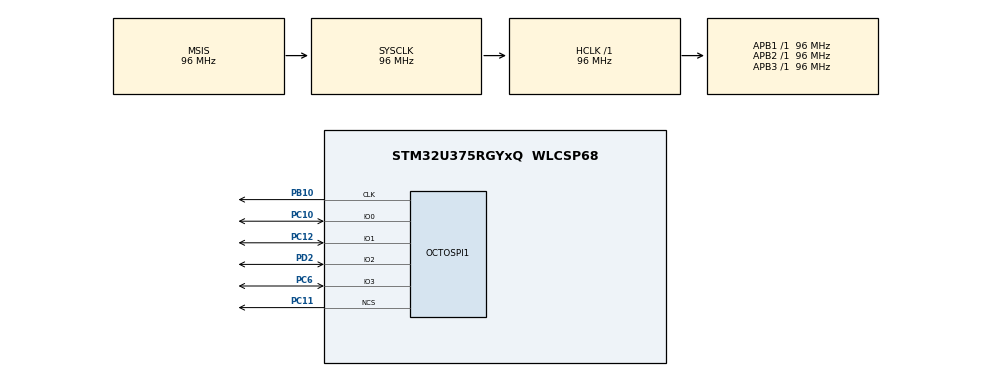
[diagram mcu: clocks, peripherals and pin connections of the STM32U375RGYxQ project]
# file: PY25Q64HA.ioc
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CORTEX_M33_NS.userName=CORTEX_M33
Mcu.Family=STM32U3
Mcu.Name=STM32U375RGYxQ
Mcu.Package=WLCSP68
NVIC.PriorityGroup=NVIC_PRIORITYGROUP_4
OCTOSPI1.ClockPrescaler=1
OCTOSPI1.MemorySize=HAL_XSPI_SIZE_64MB
PB10.Mode=quad_mode
PB10.Signal=OCTOSPI1_CLK
PC10.Mode=OCTOSPI1_IO[3\:0]
PC10.Signal=OCTOSPI1_IO0
PC11.Mode=quad_mode
PC11.Signal=OCTOSPI1_NCS
PC12.Mode=OCTOSPI1_IO[3\:0]
PC12.Signal=OCTOSPI1_IO1
PC6.Mode=OCTOSPI1_IO[3\:0]
PC6.Signal=OCTOSPI1_IO3
PD2.Mode=OCTOSPI1_IO[3\:0]
PD2.Signal=OCTOSPI1_IO2
ProjectManager.HeapSize=0x200
ProjectManager.StackSize=0x400
ProjectManager.TargetToolchain=EWARM V9.40
RCC.ADCFreq_Value=96000000
RCC.AHBFreq_Value=96000000
RCC.APB1Freq_Value=96000000
RCC.APB1TimFreq_Value=96000000
RCC.APB2Freq_Value=96000000
RCC.APB2TimFreq_Value=96000000
RCC.APB3Freq_Value=96000000
RCC.CortexFreq_Value=12000000
RCC.HCLKFreq_Value=96000000
RCC.HSE_VALUE=16000000
RCC.HSI48_VALUE=48000000
RCC.HSI_VALUE=16000000
RCC.LSE_VALUE=32768
RCC.LSIDIV_VALUE=32000
RCC.MSISDIV=RCC_MSI_DIV1
RCC.SYSCLKFreq_VALUE=96000000
RCC.USBFreq_Value=96000000
VP_ICACHE_VS_ICACHE.Mode=DefaultMode
VP_PWR_VS_DBSignals.Mode=DisableDeadBatterySignals
VP_PWR_VS_LPOM.Mode=PowerOptimisation
VP_PWR_VS_SECSignals.Mode=Security/Privilege
board=custom

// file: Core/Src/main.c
/* USER CODE BEGIN Header */
/**
  ******************************************************************************
  * @file           : main.c
  * @brief          : Main program body
  ******************************************************************************
  * @attention
  *
  * Copyright (c) 2025 STMicroelectronics.
  * All rights reserved.
  *
  * This software is licensed under terms that can be found in the LICENSE file
  * in the root directory of this software component.
  * If no LICENSE file comes with this software, it is provided AS-IS.
  *
  ******************************************************************************
  */
/* USER CODE END Header */
#include "main.h"

/* USER CODE BEGIN Includes */
#include "py25q64ha.h"
#include "generated_data_50KB.h"
#include <string.h>
/* USER CODE END Includes */

/* USER CODE BEGIN PTD */
#define QSPI_MEMEMORY_DEVICE_ID   0x16U
/* USER CODE END PTD */

XSPI_HandleTypeDef hxspi1;
UART_HandleTypeDef huart1;
/* USER CODE BEGIN PV */
#pragma section=".bss"
/* USER CODE END PV */

void SystemClock_Config(void);
static void MX_GPIO_Init(void);
static void MX_ICACHE_Init(void);
/* USER CODE BEGIN PFP */
int SystemClockInit(void);
int Init(void);
KeepInComplilation int Read(uint32_t Address, uint32_t Size, uint16_t* buffer);
KeepInComplilation int Write(uint32_t Address, uint32_t Size, uint8_t* buffer);
KeepInComplilation int SectorErase(uint32_t StartAddress, uint32_t EndAddress);
KeepInComplilation int MassErase(uint32_t Parallelism);
KeepInComplilation uint64_t Verify(uint32_t FlashAddr, uint32_t RAMBufferAddr, uint32_t Size);

static void MX_OCTOSPI1_DeInit(void);
/* USER CODE END PFP */

/* USER CODE BEGIN 0 */

HAL_StatusTypeDef HAL_InitTick(uint32_t HAL_InitTick)
{
  (void)HAL_InitTick;

  /* DWT initialization */
  if (!(CoreDebug->DEMCR & CoreDebug_DEMCR_TRCENA_Msk)){
    CoreDebug->DEMCR |= CoreDebug_DEMCR_TRCENA_Msk;
  }
  DWT->CYCCNT = 0;
  DWT->CTRL |= DWT_CTRL_CYCCNTENA_Msk;

  return HAL_OK;
}

uint32_t HAL_GetTick(void)
{
  uint32_t cycles_per_ms = SystemCoreClock / 1000000;
  uwTick = (DWT->CYCCNT) / cycles_per_ms;

  return uwTick;
}

int Write (uint32_t Address, uint32_t Size, uint8_t* buffer)
{
  __disable_irq();

  /* QuadSPI De-Init */
  MX_OCTOSPI1_DeInit();

  /* QuadSPI Init */
  MX_OCTOSPI1_Init();

  Address = Address & 0x0FFFFFFF;

  PY25Q64_AutoPollingMemReady();

  /* Writes an amount of data to the QSPI memory */
  if(PY25Q64_Program(buffer, Size, Address) != PY25Q64_OK){
    return 0;
  }

  __enable_irq();

  return 1;
}

/**
 * @brief 	 Full erase of the device
 * @param 	 Parallelism : 0
 * @retval  1           : Operation succeeded
 * @retval  0           : Operation failed
 */
int MassErase (uint32_t Parallelism )
{
  __disable_irq();

  /* QuadSPI De-Init */
  MX_OCTOSPI1_DeInit();

  /* QuadSPI Init */
  MX_OCTOSPI1_Init();

  PY25Q64_AutoPollingMemReady();

  /* Erase the entire QSPI memory */
  if (PY25Q64_MassErase() != PY25Q64_OK){
      return 0;
  }

  __enable_irq();

   return 1;
}

int Init(void)
{
  int32_t result=0;

  __disable_irq();

  char *startadd = __section_begin(".bss");
  unsigned int size = __section_size(".bss");
  memset(startadd, 0, size);

  SystemInit();
  HAL_InitTick(0);

  result = SystemClockInit();
  if(result != 1){
    return 0;
  }

  //MX_GPIO_Init();
  MX_ICACHE_Init();

  MX_OCTOSPI1_DeInit();

  MX_OCTOSPI1_Init();

  if(PY25Q64_Init() != PY25Q64_OK){
    return 0;
  }

  __enable_irq();

  return 1;
}

/* USER CODE END 0 */

int main(void)
{

  /* USER CODE BEGIN 1 */
#if 1
  Init();
#else
  /* USER CODE END 1 */

  /* MCU Configuration--------------------------------------------------------*/

  /* Reset of all peripherals, Initializes the Flash interface and the Systick. */
  HAL_Init();

  /* Configure the system clock */
  SystemClock_Config();

  /* Initialize all configured peripherals */
  MX_GPIO_Init();
  MX_ICACHE_Init();
  /* USER CODE BEGIN 2 */
#endif
  /* External memory test code */
  {
     __IO uint8_t *mem_addr;

    /* Erase block 0 */
    MassErase(0);

    Write(0x90000000UL, BUFFERSIZE, aTxBuffer);

     /* Set Memory Mapped Mode */
    PY25Q64_MemoryMappedMode();

    PY25Q64_Delay(10);

    /* Read operation */
    mem_addr = (uint8_t *)(OCTOSPI1_BASE);
    for (int index = 0; index < BUFFERSIZE; index ++){
      if(*mem_addr != aTxBuffer[index]){
        Error_Handler();
      }
      mem_addr++;
    }

  }

  /* USER CODE END 2 */

  /* Infinite loop */
  while (1)
  {

  }
}

void SystemClock_Config(void)
{
  RCC_OscInitTypeDef RCC_OscInitStruct = {0};
  RCC_ClkInitTypeDef RCC_ClkInitStruct = {0};

  /** Enable Epod Booster
  */
  if (HAL_RCCEx_EpodBoosterClkConfig(RCC_EPODBOOSTER_SOURCE_MSIS, RCC_EPODBOOSTER_DIV1) != HAL_OK)
  {
    Error_Handler();
  }
  if (HAL_PWREx_EnableEpodBooster() != HAL_OK)
  {
    Error_Handler();
  }

  /** Configure the main internal regulator output voltage
  */
  if (HAL_PWREx_ControlVoltageScaling(PWR_REGULATOR_VOLTAGE_SCALE1) != HAL_OK)
  {
    Error_Handler();
  }

  /** Set Flash latency before increasing MSIS
  */
  __HAL_FLASH_SET_LATENCY(FLASH_LATENCY_2);

  /** Initializes the CPU, AHB and APB buses clocks
  */
  RCC_OscInitStruct.OscillatorType = RCC_OSCILLATORTYPE_MSIS;
  RCC_OscInitStruct.MSISState = RCC_MSI_ON;
  RCC_OscInitStruct.MSISSource = RCC_MSI_RC0;
  RCC_OscInitStruct.MSISDiv = RCC_MSI_DIV1;
  if (HAL_RCC_OscConfig(&RCC_OscInitStruct) != HAL_OK)
  {
    Error_Handler();
  }

  /** Initializes the CPU, AHB and APB buses clocks
  */
  RCC_ClkInitStruct.ClockType = RCC_CLOCKTYPE_HCLK|RCC_CLOCKTYPE_SYSCLK
                              |RCC_CLOCKTYPE_PCLK1|RCC_CLOCKTYPE_PCLK2
                              |RCC_CLOCKTYPE_PCLK3;
  RCC_ClkInitStruct.SYSCLKSource = RCC_SYSCLKSOURCE_MSIS;
  RCC_ClkInitStruct.AHBCLKDivider = RCC_SYSCLK_DIV1;
  RCC_ClkInitStruct.APB1CLKDivider = RCC_HCLK_DIV1;
  RCC_ClkInitStruct.APB2CLKDivider = RCC_HCLK_DIV1;
  RCC_ClkInitStruct.APB3CLKDivider = RCC_HCLK_DIV1;

  if (HAL_RCC_ClockConfig(&RCC_ClkInitStruct, FLASH_LATENCY_2) != HAL_OK)
  {
    Error_Handler();
  }
}

static void MX_ICACHE_Init(void)
{

  /** Enable instruction cache (default 2-ways set associative cache)
  */
  if (HAL_ICACHE_Enable() != HAL_OK)
  {
    Error_Handler();
  }

}

void MX_OCTOSPI1_Init(void)
{

  /* OCTOSPI1 parameter configuration*/
  hxspi1.Instance = OCTOSPI1;
  hxspi1.Init.FifoThresholdByte = 1;
  hxspi1.Init.MemoryMode = HAL_XSPI_SINGLE_MEM;
  hxspi1.Init.MemoryType = HAL_XSPI_MEMTYPE_MICRON;
  hxspi1.Init.MemorySize = HAL_XSPI_SIZE_64MB;
  hxspi1.Init.ChipSelectHighTimeCycle = 1;
  hxspi1.Init.FreeRunningClock = HAL_XSPI_FREERUNCLK_DISABLE;
  hxspi1.Init.ClockMode = HAL_XSPI_CLOCK_MODE_0;
  hxspi1.Init.WrapSize = HAL_XSPI_WRAP_NOT_SUPPORTED;
  hxspi1.Init.ClockPrescaler = 1;
  hxspi1.Init.SampleShifting = HAL_XSPI_SAMPLE_SHIFT_NONE;
  hxspi1.Init.DelayHoldQuarterCycle = HAL_XSPI_DHQC_DISABLE;
  hxspi1.Init.ChipSelectBoundary = HAL_XSPI_BONDARYOF_NONE;
  hxspi1.Init.DelayBlockBypass = HAL_XSPI_DELAY_BLOCK_BYPASS;
  hxspi1.Init.MaxTran = 0;
  hxspi1.Init.Refresh = 0;
  if (HAL_XSPI_Init(&hxspi1) != HAL_OK)
  {
    Error_Handler();
  }

}

static void MX_GPIO_Init(void)
{

  /* GPIO Ports Clock Enable */
  __HAL_RCC_GPIOC_CLK_ENABLE();
  __HAL_RCC_GPIOD_CLK_ENABLE();
  __HAL_RCC_GPIOB_CLK_ENABLE();

}

/* USER CODE BEGIN 4 */

/**
  * @brief System Clock Configuration
  * @retval None
  */
int SystemClockInit(void)
{
  RCC_OscInitTypeDef RCC_OscInitStruct = {0};
  RCC_ClkInitTypeDef RCC_ClkInitStruct = {0};
  uint32_t msiclk = 0x0U;

  __HAL_RCC_PWR_CLK_ENABLE();

  /** Enable Epod Booster
  */
  if (HAL_RCCEx_EpodBoosterClkConfig(RCC_EPODBOOSTER_SOURCE_MSIS, RCC_EPODBOOSTER_DIV1) != HAL_OK)
  {
    return 0;
  }
  if (HAL_PWREx_EnableEpodBooster() != HAL_OK)
  {
    return 0;
  }

  /** Configure the main internal regulator output voltage
  */
  if (HAL_PWREx_ControlVoltageScaling(PWR_REGULATOR_VOLTAGE_SCALE1) != HAL_OK)
  {
    return 0;
  }

  /** Set Flash latency before increasing MSIS
  */
  __HAL_FLASH_SET_LATENCY(FLASH_LATENCY_2);

  /** Initializes the CPU, AHB and APB buses clocks
  */
  RCC_OscInitStruct.OscillatorType = RCC_OSCILLATORTYPE_MSIS;
  RCC_OscInitStruct.MSISState = RCC_MSI_ON;
  RCC_OscInitStruct.MSISSource = RCC_MSI_RC0;
  RCC_OscInitStruct.MSISDiv = RCC_MSI_DIV1;
  if (HAL_RCC_OscConfig(&RCC_OscInitStruct) != HAL_OK)
  {
    return 0;
  }

  /** Initializes the CPU, AHB and APB buses clocks
  */
  RCC_ClkInitStruct.ClockType = RCC_CLOCKTYPE_HCLK|RCC_CLOCKTYPE_SYSCLK
                              |RCC_CLOCKTYPE_PCLK1|RCC_CLOCKTYPE_PCLK2
                              |RCC_CLOCKTYPE_PCLK3;
  RCC_ClkInitStruct.SYSCLKSource = RCC_SYSCLKSOURCE_MSIS;
  RCC_ClkInitStruct.AHBCLKDivider = RCC_SYSCLK_DIV1;
  RCC_ClkInitStruct.APB1CLKDivider = RCC_HCLK_DIV1;
  RCC_ClkInitStruct.APB2CLKDivider = RCC_HCLK_DIV1;
  RCC_ClkInitStruct.APB3CLKDivider = RCC_HCLK_DIV1;

  if (HAL_RCC_ClockConfig(&RCC_ClkInitStruct, FLASH_LATENCY_2) != HAL_OK)
  {
    return 0;
  }

  if (RCC_OscInitStruct.MSISSource == RCC_MSI_RC0){
    msiclk = 96000000U;
  } else {
    msiclk = 24000000U;
  }

  switch (RCC_OscInitStruct.MSISDiv){
  case RCC_MSI_DIV1:
    SystemCoreClock = msiclk;
    break;
  case RCC_MSI_DIV2:
    SystemCoreClock = msiclk / 2;
    break;
  case RCC_MSI_DIV4:
    SystemCoreClock = msiclk / 4;
    break;
  case RCC_MSI_DIV8:
    SystemCoreClock = msiclk / 8;
    break;
  default:
    SystemCoreClock = 24000000U;
  }

  return 1;
}

static void MX_OCTOSPI1_DeInit(void)
{
  if(hxspi1.State != HAL_XSPI_STATE_RESET){
    HAL_XSPI_DeInit(&hxspi1);
  }

  HAL_XSPI_MspDeInit(&hxspi1);

  __HAL_RCC_OCTOSPI1_FORCE_RESET();
  __HAL_RCC_OCTOSPI1_RELEASE_RESET();
  __HAL_RCC_OCTOSPI1_CLK_DISABLE();
}
/* USER CODE END 4 */

void Error_Handler(void)
{
  __disable_irq();
  while (1)
  {
  }
}
